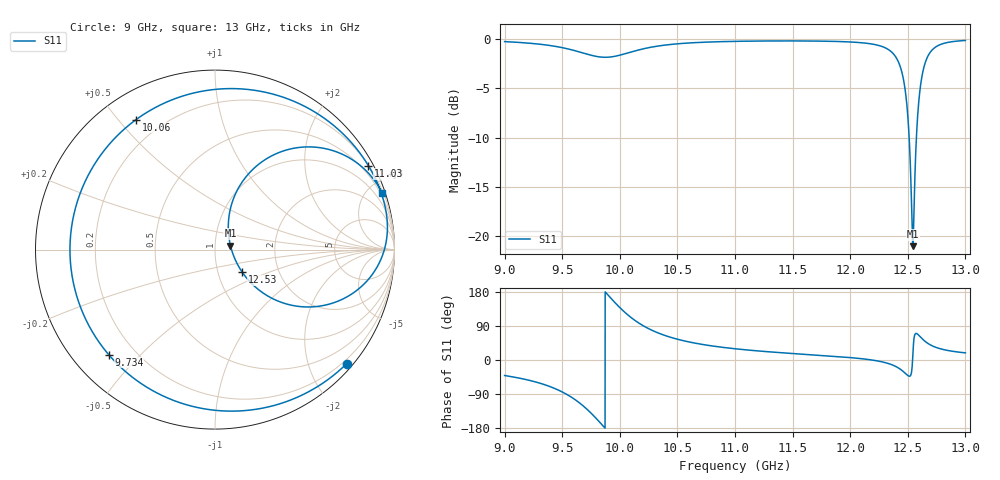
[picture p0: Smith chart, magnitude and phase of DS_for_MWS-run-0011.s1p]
! TOUCHSTONE file generated by CST DESIGN STUDIO
! Date and time: Tue Feb  4 13:41:14 2025
! Project name: C:\Work\MatlabApps\UnitCellOptimizationMatlab\CST\unitcell.cst
! Tree item: Tasks\Sweep1\SPara1\S-Parameters
! Header version: 2024
! Port assignment regex: !\s*Touchstone port\s*([0-9]+)\s*=\s*(CST MWS port|CST DES external port|CST DES block port)\s*(.+)\s* \(\"(.*)\"\)(\s*mode\s*([0-9]+))?.*
! Touchstone port assignment:
! Touchstone port 1 = CST DES external port 1 ("")
# GHz S MA R 50
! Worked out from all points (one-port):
!   4001 points, 9 GHz to 13 GHz, reference 50 ohm
!   lowest |S11| = -21.0 dB at 12.54 GHz (marker M1), VSWR 1.20, Z = 59.4 + j2.72 ohm
!   |S11| at or under -10 dB: 12.51187 GHz to 12.57464 GHz (62.77 MHz wide, 0.5 % of centre)
!   S11 on the Smith chart (normalised r, x): 9 GHz: 0.12, -2.67; 9.734 GHz: 0.11, -0.41; 10.06 GHz: 0.11, +0.56; 11.03 GHz: 0.21, +3.91; 12.53 GHz: 1.31, -0.34; 13 GHz: 0.31, +6.00
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9  0.9706 -41.0
9.281  0.9447 -58.9
9.5  0.9045 -84.3
9.627  0.8676 -107.9
9.734  0.8326 -135.3
9.868  0.8082 -178.5
10  0.8283 138.3
10.061  0.8474 121.2
10.225  0.8978 86.7
10.355  0.9258 68.7
10.5  0.9459 54.8
10.716  0.9628 41.1
11  0.9734 29.7
11.032  0.9742 28.6
11.5  0.9783 17.1
12  0.9664 6.4
12.353  0.8661 -11.5
12.448  0.6811 -27.2
12.5  0.4076 -40.9
12.526  0.1975 -39.7
12.544  0.08903 14.8
12.556  0.1525 60.9
12.578  0.3452 69.6
12.595  0.4794 65.4
12.65  0.7548 49.2
12.704  0.8708 38.6
12.772  0.9323 30.5
13  0.9837 18.9
